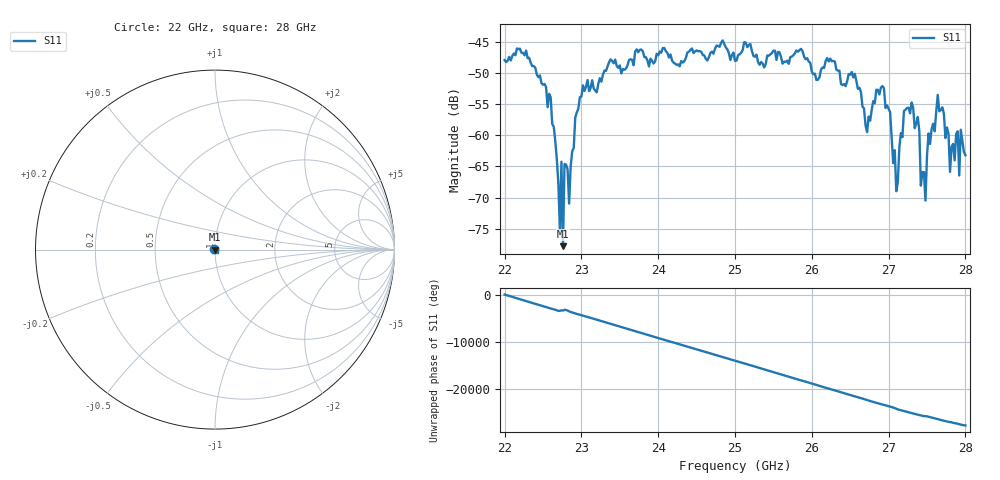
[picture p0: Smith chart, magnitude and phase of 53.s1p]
#  HZ  S  RI  R  50.00
! Rohde & Schwarz ZVA40 4Ports - Version 3.90 - 1145.1110k42 SN: 100403
! Date: 2023-10-04 10:44:53
! Measurement: S12
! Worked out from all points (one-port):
!   301 points, 22 GHz to 28 GHz, reference 50 ohm
!   lowest |S11| = -77.8 dB at 22.76 GHz (marker M1), VSWR 1.00, Z = 50 - j0.00711 ohm
!   |S11| at or under -10 dB: start of sweep to end of sweep
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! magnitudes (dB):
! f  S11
! 22 GHz  -48.0
! 22.6 GHz  -53.9
! 22.72 GHz  -75.3
! 22.74 GHz  -64.2
! 22.76 GHz  -77.8
! 22.78 GHz  -64.6
! 22.84 GHz  -71.0
! 22.92 GHz  -57.2
! 23.02 GHz  -52.0
! 23.5 GHz  -48.8
! 24.26 GHz  -48.6
! 25 GHz  -48.1
! 25.76 GHz  -47.2
! 26.5 GHz  -50.3
! 26.72 GHz  -59.5
! 26.94 GHz  -52.5
! 27.1 GHz  -69.0
! 27.26 GHz  -55.6
! 27.38 GHz  -57.1
! 27.42 GHz  -68.1
! 27.48 GHz  -70.5
! 27.52 GHz  -59.7
! 27.64 GHz  -53.5
! 27.8 GHz  -65.9
! 27.9 GHz  -59.4
! 27.92 GHz  -66.4
! 27.94 GHz  -59.1
! 28 GHz  -63.2
